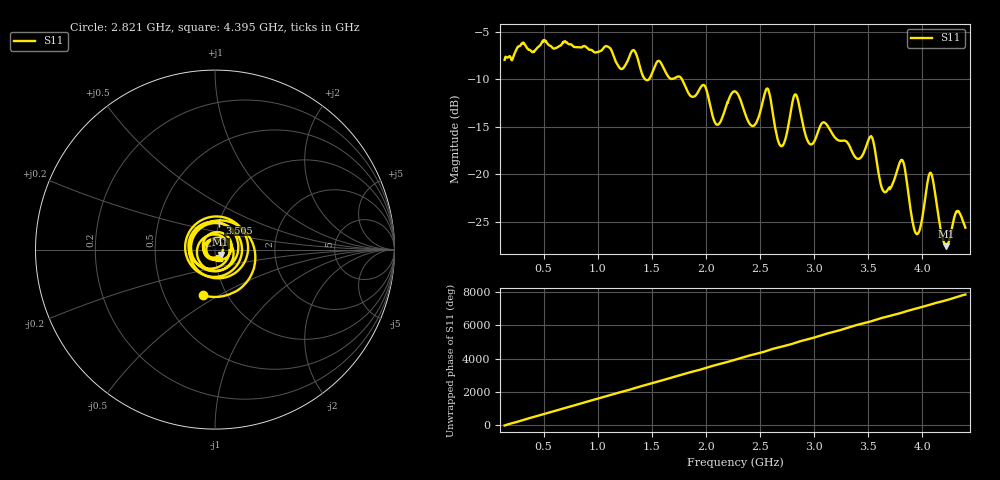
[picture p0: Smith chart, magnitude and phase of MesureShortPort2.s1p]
! 140 4400 1
# MHz S MA R 50.0
!freq ReS11 ImS11
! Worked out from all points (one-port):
!   4260 points, 140 MHz to 4.399 GHz, reference 50 ohm
!   lowest |S11| = -27.6 dB at 4.224 GHz (marker M1), VSWR 1.09, Z = 53.1 - j3 ohm
!   |S11| at or under -10 dB: 1.442 GHz to 1.472 GHz (29.97 MHz wide, 2.06 % of centre); 1.78 GHz to end of sweep
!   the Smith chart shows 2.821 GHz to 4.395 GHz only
!   S11 on the Smith chart (normalised r, x): 2.821 GHz: 0.78, -0.42; 3.505 GHz: 1.00, +0.31; 4.395 GHz: 1.04, -0.10
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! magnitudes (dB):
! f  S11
! 140 MHz  -7.9
! 673 MHz  -6.2
! 1.205 GHz  -8.8
! 1.331 GHz  -6.9
! 1.446 GHz  -10.0
! 1.563 GHz  -8.0
! 1.738 GHz  -9.7
! 1.988 GHz  -10.6
! 2.104 GHz  -14.8
! 2.27 GHz  -11.3
! 2.433 GHz  -14.9
! 2.573 GHz  -11.0
! 2.697 GHz  -17.0
! 2.802 GHz  -12.3
! 2.821 GHz  -11.6
! 2.959 GHz  -16.8
! 3.092 GHz  -14.5
! 3.335 GHz  -17.2
! 3.505 GHz  -16.3
! 3.643 GHz  -21.8
! 3.809 GHz  -18.5
! 3.867 GHz  -21.6
! 3.957 GHz  -26.3
! 4.082 GHz  -19.9
! 4.224 GHz  -27.6
! 4.319 GHz  -23.9
! 4.395 GHz  -25.5
! 4.399 GHz  -25.6
